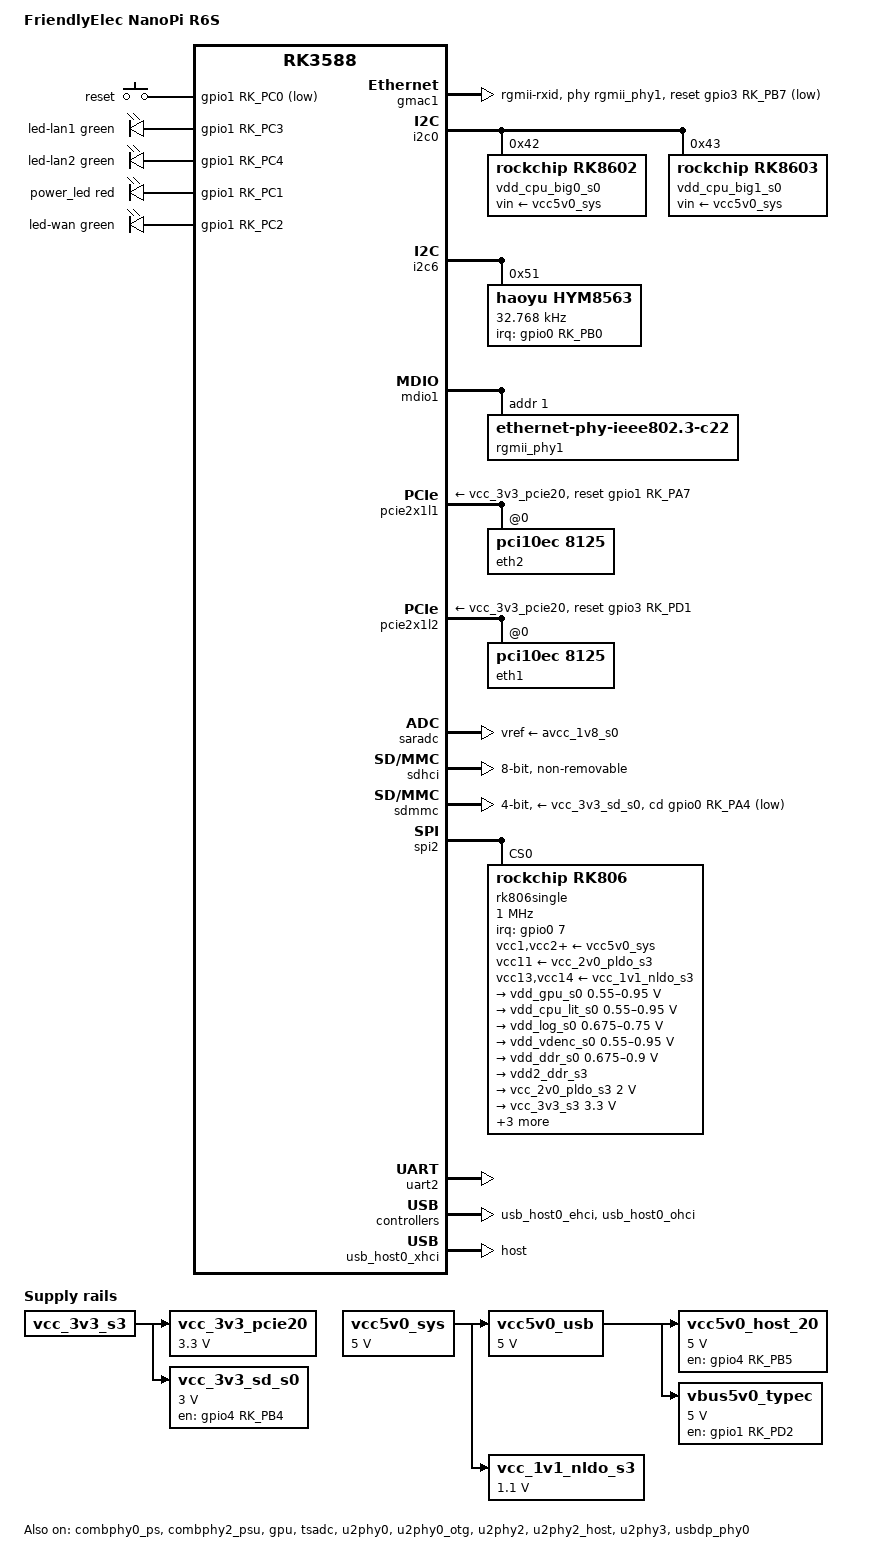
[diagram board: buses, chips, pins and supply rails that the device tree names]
// SPDX-License-Identifier: GPL-2.0-or-later OR MIT
/*
 * Copyright (c) 2021 Rockchip Electronics Co., Ltd.
 *
 * Copyright (c) 2022 FriendlyElec Computer Tech. Co., Ltd.
 * (http://www.friendlyelec.com)
 *
 * Copyright (c) 2023 Tianling Shen <cnsztl@gmail.com>
 */

/dts-v1/;

#include <dt-bindings/gpio/gpio.h>
#include <dt-bindings/input/input.h>
#include <dt-bindings/leds/common.h>
#include <dt-bindings/pinctrl/rockchip.h>
#include "rk3588s.dtsi"

/ {
	model = "FriendlyElec NanoPi R6S";
	compatible = "friendlyarm,nanopi-r6s", "rockchip,rk3588";

	aliases {
		ethernet0 = &gmac1;
		mmc0 = &sdmmc;
		mmc1 = &sdhci;

		led-boot = &power_led;
		led-failsafe = &power_led;
		led-running = &power_led;
		led-upgrade = &power_led;
	};

	chosen {
		stdout-path = "serial2:1500000n8";
	};

	gpio-keys {
		compatible = "gpio-keys";
		pinctrl-names = "default";
		pinctrl-0 = <&reset_button_pin>;

		button-reset {
			debounce-interval = <50>;
			gpios = <&gpio1 RK_PC0 GPIO_ACTIVE_LOW>;
			label = "reset";
			linux,code = <KEY_RESTART>;
		};
	};

	gpio-leds {
		compatible = "gpio-leds";
		pinctrl-names = "default";
		pinctrl-0 = <&lan1_led_pin>, <&lan2_led_pin>, <&power_led_pin>, <&wan_led_pin>;

		led-lan1 {
			color = <LED_COLOR_ID_GREEN>;
			function = LED_FUNCTION_LAN;
			function-enumerator = <1>;
			gpios = <&gpio1 RK_PC3 GPIO_ACTIVE_HIGH>;
		};

		led-lan2 {
			color = <LED_COLOR_ID_GREEN>;
			function = LED_FUNCTION_LAN;
			function-enumerator = <2>;
			gpios = <&gpio1 RK_PC4 GPIO_ACTIVE_HIGH>;
		};

		power_led: led-power {
			color = <LED_COLOR_ID_RED>;
			function = LED_FUNCTION_POWER;
			gpios = <&gpio1 RK_PC1 GPIO_ACTIVE_HIGH>;
		};

		led-wan {
			color = <LED_COLOR_ID_GREEN>;
			function = LED_FUNCTION_WAN;
			gpios = <&gpio1 RK_PC2 GPIO_ACTIVE_HIGH>;
		};
	};

	vcc5v0_sys: vcc5v0-sys-regulator {
		compatible = "regulator-fixed";
		regulator-name = "vcc5v0_sys";
		regulator-always-on;
		regulator-boot-on;
		regulator-min-microvolt = <5000000>;
		regulator-max-microvolt = <5000000>;
	};

	vcc5v0_usb: vcc5v0-usb-regulator {
		compatible = "regulator-fixed";
		regulator-name = "vcc5v0_usb";
		regulator-always-on;
		regulator-boot-on;
		regulator-min-microvolt = <5000000>;
		regulator-max-microvolt = <5000000>;
		vin-supply = <&vcc5v0_sys>;
	};

	vcc5v0_host_20: vcc5v0-host-20-regulator {
		compatible = "regulator-fixed";
		regulator-name = "vcc5v0_host_20";
		regulator-min-microvolt = <5000000>;
		regulator-max-microvolt = <5000000>;
		enable-active-high;
		gpio = <&gpio4 RK_PB5 GPIO_ACTIVE_HIGH>;
		vin-supply = <&vcc5v0_usb>;
		pinctrl-names = "default";
		pinctrl-0 = <&vcc5v0_host20_en>;
	};

	vcc_3v3_pcie20: vcc3v3-pcie20-regulator {
		compatible = "regulator-fixed";
		regulator-name = "vcc_3v3_pcie20";
		regulator-always-on;
		regulator-boot-on;
		regulator-min-microvolt = <3300000>;
		regulator-max-microvolt = <3300000>;
		vin-supply = <&vcc_3v3_s3>;
	};

	vcc_1v1_nldo_s3: vcc-1v1-nldo-s3-regulator {
		compatible = "regulator-fixed";
		regulator-name = "vcc_1v1_nldo_s3";
		regulator-always-on;
		regulator-boot-on;
		regulator-min-microvolt = <1100000>;
		regulator-max-microvolt = <1100000>;
		vin-supply = <&vcc5v0_sys>;
	};

	vcc_3v3_sd_s0: vcc-3v3-sd-s0-regulator {
		compatible = "regulator-fixed";
		regulator-always-on;
		regulator-boot-on;
		regulator-max-microvolt = <3000000>;
		regulator-min-microvolt = <3000000>;
		regulator-name = "vcc_3v3_sd_s0";
		enable-active-high;
		gpio = <&gpio4 RK_PB4 GPIO_ACTIVE_HIGH>;
		vin-supply = <&vcc_3v3_s3>;
		pinctrl-names = "default";
		pinctrl-0 = <&vcc3v3_sd_en>;
	};

	vbus5v0_typec: vbus5v0-typec-regulator {
		compatible = "regulator-fixed";
		regulator-name = "vbus5v0_typec";
		regulator-min-microvolt = <5000000>;
		regulator-max-microvolt = <5000000>;
		enable-active-high;
		gpio = <&gpio1 RK_PD2 GPIO_ACTIVE_HIGH>;
		vin-supply = <&vcc5v0_usb>;
		pinctrl-names = "default";
		pinctrl-0 = <&vbus5v0_typec_en>;
	};
};

&combphy0_ps {
	status = "okay";
};

&combphy2_psu {
	status = "okay";
};

&cpu_l0 {
	cpu-supply = <&vdd_cpu_lit_s0>;
};

&cpu_b0 {
	cpu-supply = <&vdd_cpu_big0_s0>;
};

&cpu_b2 {
	cpu-supply = <&vdd_cpu_big1_s0>;
};

&gmac1 {
	clock_in_out = "output";
	label = "eth0";
	phy-handle = <&rgmii_phy1>;
	phy-mode = "rgmii-rxid";
	pinctrl-names = "default";
	pinctrl-0 = <&gmac1_miim
		     &gmac1_tx_bus2
		     &gmac1_rx_bus2
		     &gmac1_rgmii_clk
		     &gmac1_rgmii_bus>;
	snps,reset-gpio = <&gpio3 RK_PB7 GPIO_ACTIVE_LOW>;
	snps,reset-active-low;
	/* Reset time is 20ms, 100ms for rtl8211f */
	snps,reset-delays-us = <0 20000 100000>;
	tx_delay = <0x42>;
	/* rx_delay = <0x4f>; */
	status = "okay";
};

&gpu {
	mali-supply = <&vdd_gpu_s0>;
	status = "okay";
};

&i2c0 {
	pinctrl-names = "default";
	pinctrl-0 = <&i2c0m2_xfer>;
	status = "okay";

	vdd_cpu_big0_s0: regulator@42 {
		compatible = "rockchip,rk8602";
		reg = <0x42>;
		fcs,suspend-voltage-selector = <1>;
		regulator-name = "vdd_cpu_big0_s0";
		regulator-always-on;
		regulator-boot-on;
		regulator-min-microvolt = <550000>;
		regulator-max-microvolt = <1050000>;
		regulator-ramp-delay = <2300>;
		vin-supply = <&vcc5v0_sys>;

		regulator-state-mem {
			regulator-off-in-suspend;
		};
	};

	vdd_cpu_big1_s0: regulator@43 {
		compatible = "rockchip,rk8603", "rockchip,rk8602";
		reg = <0x43>;
		fcs,suspend-voltage-selector = <1>;
		regulator-name = "vdd_cpu_big1_s0";
		regulator-always-on;
		regulator-boot-on;
		regulator-min-microvolt = <550000>;
		regulator-max-microvolt = <1050000>;
		regulator-ramp-delay = <2300>;
		vin-supply = <&vcc5v0_sys>;

		regulator-state-mem {
			regulator-off-in-suspend;
		};
	};
};

&i2c6 {
	status = "okay";

	hym8563: rtc@51 {
		compatible = "haoyu,hym8563";
		reg = <0x51>;
		#clock-cells = <0>;
		clock-frequency = <32768>;
		clock-output-names = "hym8563";
		pinctrl-names = "default";
		pinctrl-0 = <&hym8563_int>;
		interrupt-parent = <&gpio0>;
		interrupts = <RK_PB0 IRQ_TYPE_LEVEL_LOW>;
		wakeup-source;
	};
};

&mdio1 {
	rgmii_phy1: ethernet-phy@1 {
		compatible = "ethernet-phy-ieee802.3-c22";
		reg = <1>;

		leds {
			#address-cells = <1>;
			#size-cells = <0>;

			led@1 {
				reg = <1>;
				color = <LED_COLOR_ID_AMBER>;
				function = LED_FUNCTION_LAN;
				default-state = "keep";
			};

			led@2 {
				reg = <2>;
				color = <LED_COLOR_ID_GREEN>;
				function = LED_FUNCTION_LAN;
				default-state = "keep";
			};
		};
	};
};

&pcie2x1l1 {
	reset-gpios = <&gpio1 RK_PA7 GPIO_ACTIVE_HIGH>;
	vpcie3v3-supply = <&vcc_3v3_pcie20>;
	status = "okay";

	pcie@0,0 {
		reg = <0x00300000 0 0 0 0>;
		#address-cells = <3>;
		#size-cells = <2>;

		rtl8125_1: pcie@30,0 {
			compatible = "pci10ec,8125";
			reg = <0x000000 0 0 0 0>;

			realtek,led-data = <0x0 0x0 0x2b 0x200>;
			label = "eth2";
		};
	};
};

&pcie2x1l2 {
	reset-gpios = <&gpio3 RK_PD1 GPIO_ACTIVE_HIGH>;
	vpcie3v3-supply = <&vcc_3v3_pcie20>;
	status = "okay";

	pcie@0,0 {
		reg = <0x00400000 0 0 0 0>;
		#address-cells = <3>;
		#size-cells = <2>;

		rtl8125_2: pcie@40,0 {
			compatible = "pci10ec,8125";
			reg = <0x000000 0 0 0 0>;

			realtek,led-data = <0x0 0x0 0x2b 0x200>;
			label = "eth1";
		};
	};
};

&pinctrl {
	gpio-leds {
		lan1_led_pin: lan1-led-pin {
			rockchip,pins = <1 RK_PC3 RK_FUNC_GPIO &pcfg_pull_none>;
		};

		lan2_led_pin: lan2-led-pin {
			rockchip,pins = <1 RK_PC4 RK_FUNC_GPIO &pcfg_pull_none>;
		};

		power_led_pin: power-led-pin {
			rockchip,pins = <1 RK_PC1 RK_FUNC_GPIO &pcfg_pull_none>;
		};

		wan_led_pin: wan-led-pin {
			rockchip,pins = <1 RK_PC2 RK_FUNC_GPIO &pcfg_pull_none>;
		};
	};

	hym8563 {
		hym8563_int: hym8563-int {
			rockchip,pins = <0 RK_PB0 RK_FUNC_GPIO &pcfg_pull_up>;
		};
	};

	rockchip-key {
		reset_button_pin: reset-button-pin {
			rockchip,pins = <1 RK_PC0 RK_FUNC_GPIO &pcfg_pull_up>;
		};
	};

	sdmmc {
		vcc3v3_sd_en: vcc3v3-sd-en {
			rockchip,pins = <4 RK_PB4 RK_FUNC_GPIO &pcfg_pull_up>;
		};
	};

	usb {
		vbus5v0_typec_en: vbus5v0-typec-en {
			rockchip,pins = <1 RK_PD2 RK_FUNC_GPIO &pcfg_pull_none>;
		};

		vcc5v0_host20_en: vcc5v0-host20-en {
			rockchip,pins = <4 RK_PB5 RK_FUNC_GPIO &pcfg_pull_none>;
		};
	};
};

&saradc {
	vref-supply = <&avcc_1v8_s0>;
	status = "okay";
};

&sdhci {
	bus-width = <8>;
	cap-mmc-highspeed;
	max-frequency = <200000000>;
	mmc-hs200-1_8v;
	no-sdio;
	no-sd;
	non-removable;
	status = "okay";
};

&sdmmc {
	bus-width = <4>;
	cap-mmc-highspeed;
	cap-sd-highspeed;
	cd-gpios = <&gpio0 RK_PA4 GPIO_ACTIVE_LOW>;
	disable-wp;
	max-frequency = <150000000>;
	no-sdio;
	no-mmc;
	pinctrl-names = "default";
	pinctrl-0 = <&sdmmc_bus4 &sdmmc_clk &sdmmc_cmd &sdmmc_det>;
	sd-uhs-sdr50;
	vmmc-supply = <&vcc_3v3_sd_s0>;
	vqmmc-supply = <&vccio_sd_s0>;
	status = "okay";
};

&spi2 {
	status = "okay";
	assigned-clocks = <&cru CLK_SPI2>;
	assigned-clock-rates = <200000000>;
	pinctrl-names = "default";
	pinctrl-0 = <&spi2m2_cs0 &spi2m2_pins>;
	num-cs = <1>;

	rk806single: rk806single@0 {
		compatible = "rockchip,rk806";
		spi-max-frequency = <1000000>;
		reg = <0x0>;

		interrupt-parent = <&gpio0>;
		interrupts = <7 IRQ_TYPE_LEVEL_LOW>;

		pinctrl-names = "default";
		pinctrl-0 = <&pmic_pins>, <&rk806_dvs1_null>, <&rk806_dvs2_null>, <&rk806_dvs3_null>;

		vcc1-supply = <&vcc5v0_sys>;
		vcc2-supply = <&vcc5v0_sys>;
		vcc3-supply = <&vcc5v0_sys>;
		vcc4-supply = <&vcc5v0_sys>;
		vcc5-supply = <&vcc5v0_sys>;
		vcc6-supply = <&vcc5v0_sys>;
		vcc7-supply = <&vcc5v0_sys>;
		vcc8-supply = <&vcc5v0_sys>;
		vcc9-supply = <&vcc5v0_sys>;
		vcc10-supply = <&vcc5v0_sys>;
		vcc11-supply = <&vcc_2v0_pldo_s3>;
		vcc12-supply = <&vcc5v0_sys>;
		vcc13-supply = <&vcc_1v1_nldo_s3>;
		vcc14-supply = <&vcc_1v1_nldo_s3>;
		vcca-supply = <&vcc5v0_sys>;

		gpio-controller;
		#gpio-cells = <2>;

		rk806_dvs1_null: dvs1-null-pins {
			pins = "gpio_pwrctrl2";
			function = "pin_fun0";
		};

		rk806_dvs1_slp: dvs1-slp-pins {
			pins = "gpio_pwrctrl1";
			function = "pin_fun1";
		};

		rk806_dvs1_pwrdn: dvs1-pwrdn-pins {
			pins = "gpio_pwrctrl1";
			function = "pin_fun2";
		};

		rk806_dvs1_rst: dvs1-rst-pins {
			pins = "gpio_pwrctrl1";
			function = "pin_fun3";
		};

		rk806_dvs2_null: dvs2-null-pins {
			pins = "gpio_pwrctrl2";
			function = "pin_fun0";
		};

		rk806_dvs2_slp: dvs2-slp-pins {
			pins = "gpio_pwrctrl2";
			function = "pin_fun1";
		};

		rk806_dvs2_pwrdn: dvs2-pwrdn-pins {
			pins = "gpio_pwrctrl2";
			function = "pin_fun2";
		};

		rk806_dvs2_rst: dvs2-rst-pins {
			pins = "gpio_pwrctrl2";
			function = "pin_fun3";
		};

		rk806_dvs2_dvs: dvs2-dvs-pins {
			pins = "gpio_pwrctrl2";
			function = "pin_fun4";
		};

		rk806_dvs2_gpio: dvs2-gpio-pins {
			pins = "gpio_pwrctrl2";
			function = "pin_fun5";
		};

		rk806_dvs3_null: dvs3-null-pins {
			pins = "gpio_pwrctrl3";
			function = "pin_fun0";
		};

		rk806_dvs3_slp: dvs3-slp-pins {
			pins = "gpio_pwrctrl3";
			function = "pin_fun1";
		};

		rk806_dvs3_pwrdn: dvs3-pwrdn-pins {
			pins = "gpio_pwrctrl3";
			function = "pin_fun2";
		};

		rk806_dvs3_rst: dvs3-rst-pins {
			pins = "gpio_pwrctrl3";
			function = "pin_fun3";
		};

		rk806_dvs3_dvs: dvs3-dvs-pins {
			pins = "gpio_pwrctrl3";
			function = "pin_fun4";
		};

		rk806_dvs3_gpio: dvs3-gpio-pins {
			pins = "gpio_pwrctrl3";
			function = "pin_fun5";
		};

		regulators {
			vdd_gpu_s0: vdd_gpu_mem_s0: dcdc-reg1 {
				regulator-boot-on;
				regulator-min-microvolt = <550000>;
				regulator-max-microvolt = <950000>;
				regulator-ramp-delay = <12500>;
				regulator-name = "vdd_gpu_s0";
				regulator-enable-ramp-delay = <400>;

				regulator-state-mem {
					regulator-off-in-suspend;
				};
			};

			vdd_cpu_lit_s0: vdd_cpu_lit_mem_s0: dcdc-reg2 {
				regulator-always-on;
				regulator-boot-on;
				regulator-min-microvolt = <550000>;
				regulator-max-microvolt = <950000>;
				regulator-ramp-delay = <12500>;
				regulator-name = "vdd_cpu_lit_s0";
				regulator-state-mem {
					regulator-off-in-suspend;
				};
			};

			vdd_log_s0: dcdc-reg3 {
				regulator-always-on;
				regulator-boot-on;
				regulator-min-microvolt = <675000>;
				regulator-max-microvolt = <750000>;
				regulator-ramp-delay = <12500>;
				regulator-name = "vdd_log_s0";

				regulator-state-mem {
					regulator-off-in-suspend;
					regulator-suspend-microvolt = <750000>;
				};
			};

			vdd_vdenc_s0: vdd_vdenc_mem_s0: dcdc-reg4 {
				regulator-always-on;
				regulator-boot-on;
				regulator-min-microvolt = <550000>;
				regulator-max-microvolt = <950000>;
				regulator-init-microvolt = <750000>;
				regulator-ramp-delay = <12500>;
				regulator-name = "vdd_vdenc_s0";

				regulator-state-mem {
					regulator-off-in-suspend;
				};
			};

			vdd_ddr_s0: dcdc-reg5 {
				regulator-always-on;
				regulator-boot-on;
				regulator-min-microvolt = <675000>;
				regulator-max-microvolt = <900000>;
				regulator-ramp-delay = <12500>;
				regulator-name = "vdd_ddr_s0";

				regulator-state-mem {
					regulator-off-in-suspend;
					regulator-suspend-microvolt = <850000>;
				};
			};

			vdd2_ddr_s3: dcdc-reg6 {
				regulator-always-on;
				regulator-boot-on;
				regulator-name = "vdd2_ddr_s3";

				regulator-state-mem {
					regulator-on-in-suspend;
				};
			};

			vcc_2v0_pldo_s3: dcdc-reg7 {
				regulator-always-on;
				regulator-boot-on;
				regulator-min-microvolt = <2000000>;
				regulator-max-microvolt = <2000000>;
				regulator-ramp-delay = <12500>;
				regulator-name = "vdd_2v0_pldo_s3";

				regulator-state-mem {
					regulator-on-in-suspend;
					regulator-suspend-microvolt = <2000000>;
				};
			};

			vcc_3v3_s3: dcdc-reg8 {
				regulator-always-on;
				regulator-boot-on;
				regulator-min-microvolt = <3300000>;
				regulator-max-microvolt = <3300000>;
				regulator-name = "vcc_3v3_s3";

				regulator-state-mem {
					regulator-on-in-suspend;
					regulator-suspend-microvolt = <3300000>;
				};
			};

			vddq_ddr_s0: dcdc-reg9 {
				regulator-always-on;
				regulator-boot-on;
				regulator-name = "vddq_ddr_s0";

				regulator-state-mem {
					regulator-off-in-suspend;
				};
			};

			vcc_1v8_s3: dcdc-reg10 {
				regulator-always-on;
				regulator-boot-on;
				regulator-min-microvolt = <1800000>;
				regulator-max-microvolt = <1800000>;
				regulator-name = "vcc_1v8_s3";

				regulator-state-mem {
					regulator-on-in-suspend;
					regulator-suspend-microvolt = <1800000>;
				};
			};

			avcc_1v8_s0: pldo-reg1 {
				regulator-always-on;
				regulator-boot-on;
				regulator-min-microvolt = <1800000>;
				regulator-max-microvolt = <1800000>;
				regulator-name = "avcc_1v8_s0";

				regulator-state-mem {
					regulator-off-in-suspend;
				};
			};

			vcc_1v8_s0: pldo-reg2 {
				regulator-always-on;
				regulator-boot-on;
				regulator-min-microvolt = <1800000>;
				regulator-max-microvolt = <1800000>;
				regulator-name = "vcc_1v8_s0";

				regulator-state-mem {
					regulator-off-in-suspend;
					regulator-suspend-microvolt = <1800000>;
				};
			};

			avdd_1v2_s0: pldo-reg3 {
				regulator-always-on;
				regulator-boot-on;
				regulator-min-microvolt = <1200000>;
				regulator-max-microvolt = <1200000>;
				regulator-name = "avdd_1v2_s0";

				regulator-state-mem {
					regulator-off-in-suspend;
				};
			};

			vcc_3v3_s0: pldo-reg4 {
				regulator-always-on;
				regulator-boot-on;
				regulator-min-microvolt = <3300000>;
				regulator-max-microvolt = <3300000>;
				regulator-ramp-delay = <12500>;
				regulator-name = "vcc_3v3_s0";

				regulator-state-mem {
					regulator-off-in-suspend;
				};
			};

			vccio_sd_s0: pldo-reg5 {
				regulator-always-on;
				regulator-boot-on;
				regulator-min-microvolt = <1800000>;
				regulator-max-microvolt = <3300000>;
				regulator-ramp-delay = <12500>;
				regulator-name = "vccio_sd_s0";

				regulator-state-mem {
					regulator-off-in-suspend;
				};
			};

			pldo6_s3: pldo-reg6 {
				regulator-always-on;
				regulator-boot-on;
				regulator-min-microvolt = <1800000>;
				regulator-max-microvolt = <1800000>;
				regulator-name = "pldo6_s3";

				regulator-state-mem {
					regulator-on-in-suspend;
					regulator-suspend-microvolt = <1800000>;
				};
			};

			vdd_0v75_s3: nldo-reg1 {
				regulator-always-on;
				regulator-boot-on;
				regulator-min-microvolt = <750000>;
				regulator-max-microvolt = <750000>;
				regulator-name = "vdd_0v75_s3";

				regulator-state-mem {
					regulator-on-in-suspend;
					regulator-suspend-microvolt = <750000>;
				};
			};

			vdd_ddr_pll_s0: nldo-reg2 {
				regulator-always-on;
				regulator-boot-on;
				regulator-min-microvolt = <850000>;
				regulator-max-microvolt = <850000>;
				regulator-name = "vdd_ddr_pll_s0";

				regulator-state-mem {
					regulator-off-in-suspend;
					regulator-suspend-microvolt = <850000>;
				};
			};

			avdd_0v75_s0: nldo-reg3 {
				regulator-always-on;
				regulator-boot-on;
				regulator-min-microvolt = <750000>;
				regulator-max-microvolt = <750000>;
				regulator-name = "avdd_0v75_s0";

				regulator-state-mem {
					regulator-off-in-suspend;
				};
			};

			vdd_0v85_s0: nldo-reg4 {
				regulator-always-on;
				regulator-boot-on;
				regulator-min-microvolt = <850000>;
				regulator-max-microvolt = <850000>;
				regulator-name = "vdd_0v85_s0";

				regulator-state-mem {
					regulator-off-in-suspend;
				};
			};

			vdd_0v75_s0: nldo-reg5 {
				regulator-always-on;
				regulator-boot-on;
				regulator-min-microvolt = <750000>;
				regulator-max-microvolt = <750000>;
				regulator-name = "vdd_0v75_s0";

				regulator-state-mem {
					regulator-off-in-suspend;
				};
			};
		};
	};
};

&tsadc {
	status = "okay";
};

&uart2 {
	pinctrl-0 = <&uart2m0_xfer>;
	status = "okay";
};

&u2phy0 {
	status = "okay";
};

&u2phy0_otg {
	phy-supply = <&vbus5v0_typec>;
	status = "okay";
};

&u2phy2 {
	status = "okay";
};

&u2phy2_host {
	phy-supply = <&vcc5v0_host_20>;
	status = "okay";
};

&u2phy3 {
	status = "okay";
};

&usbdp_phy0 {
	status = "okay";
};

&usb_host0_ehci {
	status = "okay";
};

&usb_host0_ohci {
	status = "okay";
};

&usb_host0_xhci {
	extcon = <&u2phy0>;
	dr_mode = "host";
	status = "okay";
};
